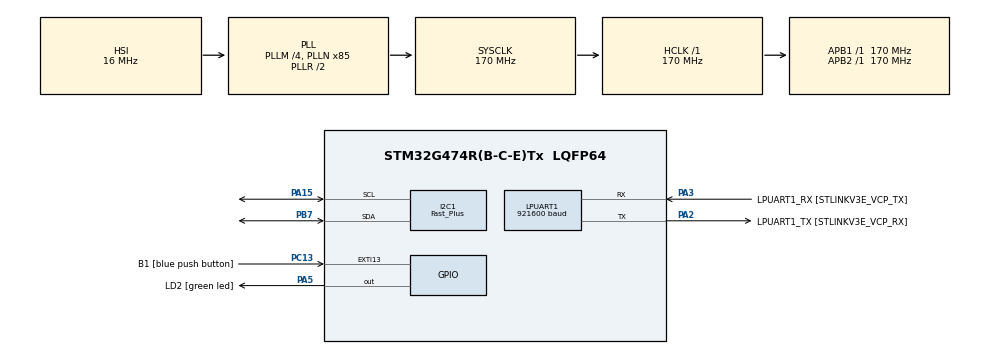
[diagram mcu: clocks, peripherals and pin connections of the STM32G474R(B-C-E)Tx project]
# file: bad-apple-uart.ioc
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I2C1.I2C_Speed_Mode=I2C_Fast_Plus
I2C1.Timing=0x4052060F
LPUART1.BaudRate=921600
Mcu.Family=STM32G4
Mcu.Name=STM32G474R(B-C-E)Tx
Mcu.Package=LQFP64
NVIC.EXTI15_10_IRQn=true\:0\:0\:false\:false\:true\:true\:true\:true
NVIC.LPUART1_IRQn=true\:0\:0\:false\:false\:true\:true\:true\:true
NVIC.PriorityGroup=NVIC_PRIORITYGROUP_4
PA13.GPIO_Label=T_SWDIO
PA13.Signal=SYS_JTMS-SWDIO
PA14.GPIO_Label=T_SWCLK
PA14.Signal=SYS_JTCK-SWCLK
PA15.Mode=I2C
PA15.Signal=I2C1_SCL
PA2.GPIO_Label=LPUART1_TX [STLINKV3E_VCP_RX]
PA2.Mode=Asynchronous
PA2.Signal=LPUART1_TX
PA3.GPIO_Label=LPUART1_RX [STLINKV3E_VCP_TX]
PA3.Mode=Asynchronous
PA3.Signal=LPUART1_RX
PA5.GPIO_Label=LD2 [green led]
PA5.Signal=GPIO_Output
PB3.GPIO_Label=T_SWO
PB3.Signal=SYS_JTDO-SWO
PB7.Mode=I2C
PB7.Signal=I2C1_SDA
PC13.GPIO_Label=B1 [blue push button]
PC13.Signal=GPXTI13
PC14-OSC32_IN.GPIO_Label=RCC_OSC32_IN
PC14-OSC32_IN.Signal=RCC_OSC32_IN
PC15-OSC32_OUT.GPIO_Label=RCC_OSC32_OUT
PC15-OSC32_OUT.Signal=RCC_OSC32_OUT
PF0-OSC_IN.GPIO_Label=RCC_OSC_IN
PF0-OSC_IN.Signal=RCC_OSC_IN
PF1-OSC_OUT.GPIO_Label=RCC_OSC_OUT
PF1-OSC_OUT.Signal=RCC_OSC_OUT
ProjectManager.HeapSize=0x200
ProjectManager.StackSize=0x400
ProjectManager.TargetToolchain=CMake
RCC.ADC12Freq_Value=170000000
RCC.ADC345Freq_Value=170000000
RCC.AHBFreq_Value=170000000
RCC.APB1Freq_Value=170000000
RCC.APB1TimFreq_Value=170000000
RCC.APB2Freq_Value=170000000
RCC.APB2TimFreq_Value=170000000
RCC.CortexFreq_Value=170000000
RCC.EXTERNAL_CLOCK_VALUE=12288000
RCC.HCLKFreq_Value=170000000
RCC.HSE_VALUE=24000000
RCC.HSI48_VALUE=48000000
RCC.HSI_VALUE=16000000
RCC.LSE_VALUE=32768
RCC.PLLM=RCC_PLLM_DIV4
RCC.PLLN=85
RCC.RTCClockSelection=RCC_RTCCLKSOURCE_LSE
RCC.SYSCLKFreq_VALUE=170000000
RCC.SYSCLKSource=RCC_SYSCLKSOURCE_PLLCLK
RCC.USBFreq_Value=170000000
RCC.VCOOutputFreq_Value=340000000
VP_SYS_VS_DBSignals.Mode=DisableDeadBatterySignals
board=NUCLEO-G474RE

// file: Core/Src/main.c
/* USER CODE BEGIN Header */
/**
 ******************************************************************************
 * @file           : main.c
 * @brief          : Main program body
 ******************************************************************************
 * @attention
 *
 * Copyright (c) 2025 STMicroelectronics.
 * All rights reserved.
 *
 * This software is licensed under terms that can be found in the LICENSE file
 * in the root directory of this software component.
 * If no LICENSE file comes with this software, it is provided AS-IS.
 *
 ******************************************************************************
 */
/* USER CODE END Header */
#include "main.h"

/* USER CODE BEGIN Includes */
#include "ssd1306.h"
#include "ssd1306_fonts.h"
#include <stdint.h>
#include <string.h>
/* USER CODE END Includes */

/* USER CODE BEGIN PD */
#define MAX_BUF 128
#define FRAME_BUF_SIZE (128 * 64 / 8)
/* USER CODE END PD */

I2C_HandleTypeDef hi2c1;

UART_HandleTypeDef hlpuart1;

/* USER CODE BEGIN PV */
char uartBuf[MAX_BUF];
uint8_t frameBuffer[FRAME_BUF_SIZE];
extern uint8_t SSD1306_Buffer[];

uint8_t uartHeader[2];
/* USER CODE END PV */

void SystemClock_Config(void);
static void MX_GPIO_Init(void);
static void MX_LPUART1_UART_Init(void);
static void MX_I2C1_Init(void);
/* USER CODE BEGIN PFP */
void uartWriteStr(char *buf, const char *message, size_t bufSize);
void uartRecvFrame(uint8_t *buffer, size_t size);
static uint8_t scanI2C(void);
void drawFrameOled(uint8_t *frameBuffer, size_t size);
/* USER CODE END PFP */

/* USER CODE BEGIN 0 */

/*
 *  UART Write String: Writes a null-terminated string to the UART buffer, then transmits
 *
 *  buf: pointer to the buffer to store UART data
 *  message: String to send
 *  bufSize: size of data to send
 */
void uartWriteStr(char *buf, const char *message, size_t bufSize) {
  int i = 0;
  while ((i < bufSize) && (message[i] != '\0')) {
    buf[i] = message[i];
    i++;
  }
  while (i < bufSize) {
    buf[i] = '\0';
    i++;
  }
  HAL_UART_Transmit(&hlpuart1, (uint8_t *)uartBuf, bufSize, 10);
}

/*
 *  UART Recieve frame: recieves 64-byte chunks of frame data.
 *
 *  buffer: location to save frame data
 *  size: size of frame buffer
 */
void uartRecvFrame(uint8_t *buffer, size_t size) {

  HAL_StatusTypeDef status;
  size_t recieved = 0;

  while (recieved < size) {
    size_t chunk = 64;

    if ((size - recieved) < chunk)
      chunk = size - recieved;

    status = HAL_UART_Receive(&hlpuart1, buffer + recieved, chunk, 1000);

    if (status == HAL_OK) {
      recieved += chunk;
    }
  }

}

/*
 * Draw Frame OLED: Draws frame data to the I2C oled screen (SSD1306)
 *
 * frameBuffer: pointer to frame data revieved in uartRecvFrame()
 * size: size of frame data buffer
 */
void drawFrameOled(uint8_t *frameBuffer, size_t size) {
  memcpy(SSD1306_Buffer, frameBuffer, size);
  ssd1306_UpdateScreen();
}

/* USER CODE END 0 */

int main(void) {

  /* MCU Configuration--------------------------------------------------------*/

  /* Reset of all peripherals, Initializes the Flash interface and the Systick.
   */
  HAL_Init();

  /* Configure the system clock */
  SystemClock_Config();

  /* Initialize all configured peripherals */
  MX_GPIO_Init();
  MX_LPUART1_UART_Init();
  MX_I2C1_Init();
  /* USER CODE BEGIN 2 */

  ssd1306_Init();
  ssd1306_Fill(Black);
  ssd1306_WriteString("Bad Apple!", Font_11x18, White);
  ssd1306_UpdateScreen();
  uint8_t readySignal = 0xFF;
  /* USER CODE END 2 */

  /* Infinite loop */
  while (1) {

    /* USER CODE BEGIN 3 */

    HAL_UART_Transmit(&hlpuart1, &readySignal, 1, 100);
    HAL_UART_Receive(&hlpuart1, uartHeader, 2, 33);

    /* Wait for header data to signal that the frame is ready to be drawn */
    if (uartHeader[0] == 0xAA && uartHeader[1] == 0x55) {
      uartRecvFrame(frameBuffer, FRAME_BUF_SIZE);
      drawFrameOled(frameBuffer, FRAME_BUF_SIZE);
    }
  }
  /* USER CODE END 3 */
}

void SystemClock_Config(void) {
  RCC_OscInitTypeDef RCC_OscInitStruct = {0};
  RCC_ClkInitTypeDef RCC_ClkInitStruct = {0};

  /** Configure the main internal regulator output voltage
   */
  HAL_PWREx_ControlVoltageScaling(PWR_REGULATOR_VOLTAGE_SCALE1_BOOST);

  /** Initializes the RCC Oscillators according to the specified parameters
   * in the RCC_OscInitTypeDef structure.
   */
  RCC_OscInitStruct.OscillatorType = RCC_OSCILLATORTYPE_HSI;
  RCC_OscInitStruct.HSIState = RCC_HSI_ON;
  RCC_OscInitStruct.HSICalibrationValue = RCC_HSICALIBRATION_DEFAULT;
  RCC_OscInitStruct.PLL.PLLState = RCC_PLL_ON;
  RCC_OscInitStruct.PLL.PLLSource = RCC_PLLSOURCE_HSI;
  RCC_OscInitStruct.PLL.PLLM = RCC_PLLM_DIV4;
  RCC_OscInitStruct.PLL.PLLN = 85;
  RCC_OscInitStruct.PLL.PLLP = RCC_PLLP_DIV2;
  RCC_OscInitStruct.PLL.PLLQ = RCC_PLLQ_DIV2;
  RCC_OscInitStruct.PLL.PLLR = RCC_PLLR_DIV2;
  if (HAL_RCC_OscConfig(&RCC_OscInitStruct) != HAL_OK) {
    Error_Handler();
  }

  /** Initializes the CPU, AHB and APB buses clocks
   */
  RCC_ClkInitStruct.ClockType = RCC_CLOCKTYPE_HCLK | RCC_CLOCKTYPE_SYSCLK |
                                RCC_CLOCKTYPE_PCLK1 | RCC_CLOCKTYPE_PCLK2;
  RCC_ClkInitStruct.SYSCLKSource = RCC_SYSCLKSOURCE_PLLCLK;
  RCC_ClkInitStruct.AHBCLKDivider = RCC_SYSCLK_DIV1;
  RCC_ClkInitStruct.APB1CLKDivider = RCC_HCLK_DIV1;
  RCC_ClkInitStruct.APB2CLKDivider = RCC_HCLK_DIV1;

  if (HAL_RCC_ClockConfig(&RCC_ClkInitStruct, FLASH_LATENCY_4) != HAL_OK) {
    Error_Handler();
  }
}

static void MX_I2C1_Init(void) {

  hi2c1.Instance = I2C1;
  hi2c1.Init.Timing = 0x00C0216C;
  hi2c1.Init.OwnAddress1 = 0;
  hi2c1.Init.AddressingMode = I2C_ADDRESSINGMODE_7BIT;
  hi2c1.Init.DualAddressMode = I2C_DUALADDRESS_DISABLE;
  hi2c1.Init.OwnAddress2 = 0;
  hi2c1.Init.OwnAddress2Masks = I2C_OA2_NOMASK;
  hi2c1.Init.GeneralCallMode = I2C_GENERALCALL_DISABLE;
  hi2c1.Init.NoStretchMode = I2C_NOSTRETCH_DISABLE;
  if (HAL_I2C_Init(&hi2c1) != HAL_OK) {
    Error_Handler();
  }

  /** Configure Analogue filter
   */
  if (HAL_I2CEx_ConfigAnalogFilter(&hi2c1, I2C_ANALOGFILTER_ENABLE) != HAL_OK) {
    Error_Handler();
  }

  /** Configure Digital filter
   */
  if (HAL_I2CEx_ConfigDigitalFilter(&hi2c1, 0) != HAL_OK) {
    Error_Handler();
  }

  /** I2C Fast mode Plus enable
   */
  HAL_I2CEx_EnableFastModePlus(I2C_FASTMODEPLUS_I2C1);
}

static void MX_LPUART1_UART_Init(void) {

  hlpuart1.Instance = LPUART1;
  hlpuart1.Init.BaudRate = 921600;
  hlpuart1.Init.WordLength = UART_WORDLENGTH_8B;
  hlpuart1.Init.StopBits = UART_STOPBITS_1;
  hlpuart1.Init.Parity = UART_PARITY_NONE;
  hlpuart1.Init.Mode = UART_MODE_TX_RX;
  hlpuart1.Init.HwFlowCtl = UART_HWCONTROL_NONE;
  hlpuart1.Init.OneBitSampling = UART_ONE_BIT_SAMPLE_DISABLE;
  hlpuart1.Init.ClockPrescaler = UART_PRESCALER_DIV1;
  hlpuart1.AdvancedInit.AdvFeatureInit = UART_ADVFEATURE_NO_INIT;
  if (HAL_UART_Init(&hlpuart1) != HAL_OK) {
    Error_Handler();
  }
  if (HAL_UARTEx_SetTxFifoThreshold(&hlpuart1, UART_TXFIFO_THRESHOLD_1_8) !=
      HAL_OK) {
    Error_Handler();
  }
  if (HAL_UARTEx_SetRxFifoThreshold(&hlpuart1, UART_RXFIFO_THRESHOLD_1_8) !=
      HAL_OK) {
    Error_Handler();
  }
  if (HAL_UARTEx_DisableFifoMode(&hlpuart1) != HAL_OK) {
    Error_Handler();
  }
}

static void MX_GPIO_Init(void) {
  GPIO_InitTypeDef GPIO_InitStruct = {0};

  /* GPIO Ports Clock Enable */
  __HAL_RCC_GPIOC_CLK_ENABLE();
  __HAL_RCC_GPIOF_CLK_ENABLE();
  __HAL_RCC_GPIOA_CLK_ENABLE();
  __HAL_RCC_GPIOB_CLK_ENABLE();

  /*Configure GPIO pin Output Level */
  HAL_GPIO_WritePin(LD2_GPIO_Port, LD2_Pin, GPIO_PIN_RESET);

  /*Configure GPIO pin : B1_Pin */
  GPIO_InitStruct.Pin = B1_Pin;
  GPIO_InitStruct.Mode = GPIO_MODE_IT_RISING;
  GPIO_InitStruct.Pull = GPIO_NOPULL;
  HAL_GPIO_Init(B1_GPIO_Port, &GPIO_InitStruct);

  /*Configure GPIO pin : LD2_Pin */
  GPIO_InitStruct.Pin = LD2_Pin;
  GPIO_InitStruct.Mode = GPIO_MODE_OUTPUT_PP;
  GPIO_InitStruct.Pull = GPIO_NOPULL;
  GPIO_InitStruct.Speed = GPIO_SPEED_FREQ_LOW;
  HAL_GPIO_Init(LD2_GPIO_Port, &GPIO_InitStruct);

  /* EXTI interrupt init*/
  HAL_NVIC_SetPriority(EXTI15_10_IRQn, 0, 0);
  HAL_NVIC_EnableIRQ(EXTI15_10_IRQn);

}

void Error_Handler(void) {
  /* USER CODE BEGIN Error_Handler_Debug */
  /* User can add his own implementation to report the HAL error return state
   */
  __disable_irq();
  while (1) {
  }
  /* USER CODE END Error_Handler_Debug */
}
#ifdef USE_FULL_ASSERT
/**
 * @brief  Reports the name of the source file and the source line number
 *         where the assert_param error has occurred.
 * @param  file: pointer to the source file name
 * @param  line: assert_param error line source number
 * @retval None
 */
void assert_failed(uint8_t *file, uint32_t line) {
  /* USER CODE BEGIN 6 */
  /* User can add his own implementation to report the file name and line
     number, ex: printf("Wrong parameters value: file %s on line %d\r\n",
     file, line) */
  /* USER CODE END 6 */
}
#endif /* USE_FULL_ASSERT */
